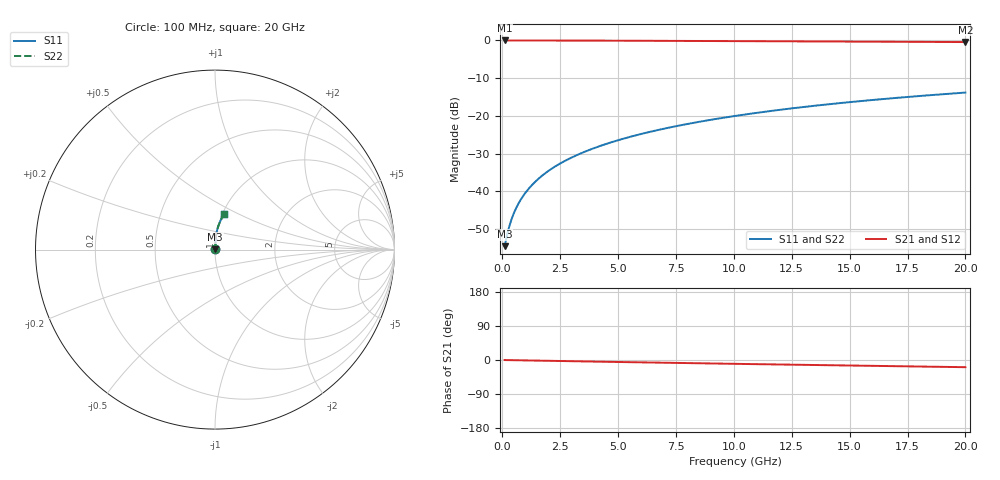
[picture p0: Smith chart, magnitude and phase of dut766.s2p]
! Touchstone file exported from HFSS 2024.1.0
!  File:  C:/UserFiles/LocalFiles/RDL_TSV_Batchsim/temp_RDL_top_766_1779852437.aedt
!  Generated:  11:29:28 AM May 27, 2026
!  Design:  RDL_top
!  Project:  temp_RDL_top_766_1779852437
!  Setup:  Setup1
!  Solution:  Sweep
! Variables:
!  dtsv = 10.80580581um
!  hbump = 3um
!  htsv = 77.05um
!  ldown = 100um
!  lrdl = 245.45um
!  p = 40
!  p1 = 43.79um
!  rhole = 1um
!  t = 450um
!  tdown = 3.915915916um
!  trdl = 3.28um
!  wdown = 15.38538539um
!  wrdl = 19.49um
# GHz S MA R 50.000000
! Terminal data exported
! Port[1] = Box2_T1
! Port[2] = Box2_T2
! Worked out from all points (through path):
!   200 points, 100 MHz to 20 GHz, reference 50 ohm
!   highest |S21| = -0.01 dB at 100 MHz (marker M1); lowest = -0.4 dB at 20 GHz (marker M2)
!   group delay of S21, straight-line fit = 2.61 ps
!   lowest |S11| = -54.5 dB at 100 MHz (marker M3), VSWR 1.00, Z = 50.2 + j0.102 ohm
!   |S11| at or under -10 dB: start of sweep to end of sweep
!   |S22| runs from -54.5 to -13.8 dB; largest |S21 - S12| = 2.3e-15
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0.1  0.001875 32.7  0.9984 -0.1  0.9984 -0.1  0.001875 32.7
! Gamma 0 0 0 0
! Port Impedance 50 0 50 0
0.2  0.002582 50.8  0.9984 -0.2  0.9984 -0.2  0.002582 50.8
0.3  0.003409 60.2  0.9983 -0.3  0.9983 -0.3  0.003409 60.2
0.4  0.004267 65.8  0.9982 -0.4  0.9982 -0.4  0.004267 65.8
0.5  0.005136 69.5  0.9981 -0.6  0.9981 -0.6  0.005136 69.5
0.6  0.006012 72.3  0.9981 -0.7  0.9981 -0.7  0.006012 72.3
0.8  0.007779 76.0  0.9979 -0.9  0.9979 -0.9  0.007779 76.0
1.1  0.01047 79.5  0.9977 -1.2  0.9977 -1.2  0.01047 79.5
1.3  0.01228 81.0  0.9976 -1.4  0.9976 -1.4  0.01228 81.0
1.6  0.01502 82.6  0.9973 -1.7  0.9973 -1.7  0.01502 82.6
2.1  0.01964 84.3  0.9968 -2.3  0.9968 -2.3  0.01964 84.2
2.7  0.02526 85.4  0.996 -2.9  0.996 -2.9  0.02526 85.4
3.5  0.03288 86.3  0.9947 -3.7  0.9947 -3.7  0.03288 86.3
4.2  0.03966 86.7  0.9933 -4.4  0.9933 -4.4  0.03966 86.7
5  0.04754 86.9  0.9916 -5.3  0.9916 -5.3  0.04754 86.8
5.9  0.05656 86.8  0.9895 -6.2  0.9895 -6.2  0.05656 86.8
6.8  0.06573 86.5  0.9873 -7.0  0.9873 -7.0  0.06573 86.5
8.4  0.08233 85.7  0.9831 -8.6  0.9831 -8.6  0.08232 85.7
10.1  0.1002 84.5  0.9784 -10.2  0.9784 -10.2  0.1002 84.5
13.4  0.1352 81.7  0.9693 -13.2  0.9693 -13.2  0.1352 81.7
16.7  0.1698 78.6  0.9601 -16.1  0.9601 -16.1  0.1697 78.6
20  0.2034 75.5  0.9506 -19.0  0.9506 -19.0  0.2034 75.5
